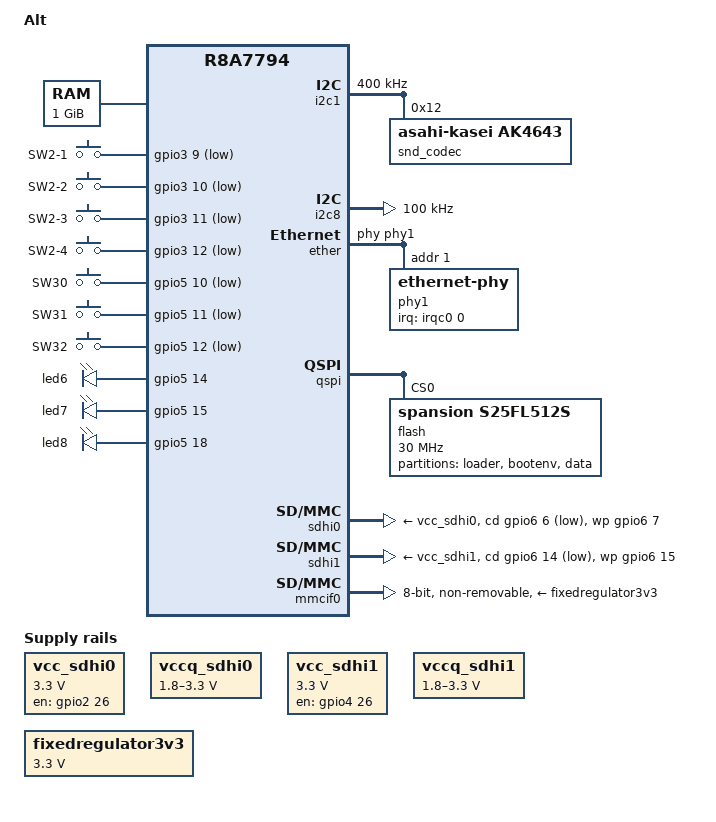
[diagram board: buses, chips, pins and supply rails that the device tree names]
/*
 * Device Tree Source for the Alt board
 *
 * Copyright (C) 2014 Renesas Electronics Corporation
 *
 * This file is licensed under the terms of the GNU General Public License
 * version 2.  This program is licensed "as is" without any warranty of any
 * kind, whether express or implied.
 */

/*
 * SSI-AK4643
 *
 * SW1: 1: AK4643
 *      2: CN22
 *      3: ADV7511
 *
 * this command is required when playback.
 *
 * # amixer set "LINEOUT Mixer DACL" on
 * # amixer set "Playback" 100
 */

/dts-v1/;
#include "r8a7794.dtsi"
#include <dt-bindings/gpio/gpio.h>
#include <dt-bindings/input/input.h>

/ {
	model = "Alt";
	compatible = "renesas,alt", "renesas,r8a7794";

	chosen {
		bootargs = "console=ttySC10,38400 ignore_loglevel rw root=/dev/nfs ip=dhcp";
	};

	memory@40000000 {
		device_type = "memory";
		reg = <0 0x40000000 0 0x40000000>;
	};

	lbsc {
		#address-cells = <1>;
		#size-cells = <1>;
	};

	gpio-keys {
		compatible = "gpio-keys";

		key-1 {
			gpios = <&gpio3 9 GPIO_ACTIVE_LOW>;
			linux,code = <KEY_1>;
			label = "SW2-1";
			gpio-key,wakeup;
			debounce-interval = <20>;
		};
		key-2 {
			gpios = <&gpio3 10 GPIO_ACTIVE_LOW>;
			linux,code = <KEY_2>;
			label = "SW2-2";
			gpio-key,wakeup;
			debounce-interval = <20>;
		};
		key-3 {
			gpios = <&gpio3 11 GPIO_ACTIVE_LOW>;
			linux,code = <KEY_3>;
			label = "SW2-3";
			gpio-key,wakeup;
			debounce-interval = <20>;
		};
		key-4 {
			gpios = <&gpio3 12 GPIO_ACTIVE_LOW>;
			linux,code = <KEY_4>;
			label = "SW2-4";
			gpio-key,wakeup;
			debounce-interval = <20>;
		};
		key-a {
			gpios = <&gpio5 10 GPIO_ACTIVE_LOW>;
			linux,code = <KEY_A>;
			label = "SW30";
			gpio-key,wakeup;
			debounce-interval = <20>;
		};
		key-b {
			gpios = <&gpio5 11 GPIO_ACTIVE_LOW>;
			linux,code = <KEY_B>;
			label = "SW31";
			gpio-key,wakeup;
			debounce-interval = <20>;
		};
		key-c {
			gpios = <&gpio5 12 GPIO_ACTIVE_LOW>;
			linux,code = <KEY_C>;
			label = "SW32";
			gpio-key,wakeup;
			debounce-interval = <20>;
		};
	};

	leds {
		compatible = "gpio-leds";
		led6 {
			gpios = <&gpio5 14 GPIO_ACTIVE_HIGH>;
		};
		led7 {
			gpios = <&gpio5 15 GPIO_ACTIVE_HIGH>;
		};
		led8 {
			gpios = <&gpio5 18 GPIO_ACTIVE_HIGH>;
		};
	};

	vcc_sdhi0: regulator@0 {
		compatible = "regulator-fixed";

		regulator-name = "SDHI0 Vcc";
		regulator-min-microvolt = <3300000>;
		regulator-max-microvolt = <3300000>;

		gpio = <&gpio2 26 GPIO_ACTIVE_HIGH>;
		enable-active-high;
	};

	vccq_sdhi0: regulator@1 {
		compatible = "regulator-gpio";

		regulator-name = "SDHI0 VccQ";
		regulator-min-microvolt = <1800000>;
		regulator-max-microvolt = <3300000>;

		gpios = <&gpio2 29 GPIO_ACTIVE_HIGH>;
		gpios-states = <1>;
		states = <3300000 1
			  1800000 0>;
	};

	vcc_sdhi1: regulator@2 {
		compatible = "regulator-fixed";

		regulator-name = "SDHI1 Vcc";
		regulator-min-microvolt = <3300000>;
		regulator-max-microvolt = <3300000>;

		gpio = <&gpio4 26 GPIO_ACTIVE_HIGH>;
		enable-active-high;
	};

	vccq_sdhi1: regulator@3 {
		compatible = "regulator-gpio";

		regulator-name = "SDHI1 VccQ";
		regulator-min-microvolt = <1800000>;
		regulator-max-microvolt = <3300000>;

		gpios = <&gpio4 29 GPIO_ACTIVE_HIGH>;
		gpios-states = <1>;
		states = <3300000 1
			  1800000 0>;
	};

	fixedregulator3v3: fixedregulator@0 {
		compatible = "regulator-fixed";
		regulator-name = "fixed-3.3V";
		regulator-min-microvolt = <3300000>;
		regulator-max-microvolt = <3300000>;
		regulator-boot-on;
		regulator-always-on;
	};
};

&extal_clk {
	clock-frequency = <20000000>;
};

&i2c1 {
	pinctrl-0 = <&i2c1_pins>;
	pinctrl-names = "default";

	status = "okay";
	clock-frequency = <400000>;

	snd_codec: ak4643 {
		#sound-dai-cells = <0>;
		compatible = "asahi-kasei,ak4643";
		reg = <0x12>;
	};
};

&i2c8 {
	status = "okay";
	clock-frequency = <100000>;
};

&pfc {
	pinctrl-0 = <&du_pins &scif2_pins &usb0_pins &usb1_pins &sound_pins &sound_clk_pins
		     &vin0_pins>;
	pinctrl-names = "default";

	du_pins: du {
		renesas,groups = "du0_rgb888", "du0_sync", "du0_clk_out",
				 "du1_rgb666", "du1_sync", "du1_clk_out";
		renesas,function = "du";
	};

	i2c1_pins: i2c1 {
		renesas,groups = "i2c1";
		renesas,function = "i2c1";
	};

	scif2_pins: serial2 {
		renesas,groups = "scif2_data";
		renesas,function = "scif2";
	};

	ether_pins: ether {
		renesas,groups = "eth_link", "eth_mdio", "eth_rmii";
		renesas,function = "eth";
	};

	qspi_pins: spi0 {
		renesas,groups = "qspi_ctrl", "qspi_data4";
		renesas,function = "qspi";
	};

	sdhi0_pins: sd0 {
		renesas,groups = "sdhi0_data4", "sdhi0_ctrl";
		renesas,function = "sdhi0";
	};

	sdhi1_pins: sd1 {
		renesas,groups = "sdhi1_data4", "sdhi1_ctrl";
		renesas,function = "sdhi1";
	};

	mmc0_pins: mmc0 {
		renesas,groups = "mmc_data8", "mmc_ctrl";
		renesas,function = "mmc";
	};

	usb0_pins: usb0 {
		renesas,groups = "usb0";
		renesas,function = "usb0";
	};

	usb1_pins: usb1 {
		renesas,groups = "usb1";
		renesas,function = "usb1";
	};

	vin0_pins: vin0 {
		renesas,groups = "vin0_data8", "vin0_sync", "vin0_field",
				 "vin0_clkenb", "vin0_clk";
		renesas,function = "vin0";
	};

	sound_pins: sound {
		renesas,groups = "ssi0129_ctrl", "ssi0_data", "ssi1_data";
		renesas,function = "ssi";
	};
	sound_clk_pins: sound_clk {
		renesas,groups = "audio_clk_a";
		renesas,function = "audio_clk";
	};
};

&ether {
	phy-handle = <&phy1>;
	renesas,ether-link-active-low;
	status = "ok";

	phy1: ethernet-phy@1 {
		reg = <1>;
		interrupt-parent = <&irqc0>;
		interrupts = <0 IRQ_TYPE_LEVEL_LOW>;
		micrel,led-mode = <1>;
	};
};

&qspi {
	pinctrl-0 = <&qspi_pins>;
	pinctrl-names = "default";

	status = "okay";

	flash: flash@0 {
		#address-cells = <1>;
		#size-cells = <1>;
		compatible = "spansion,s25fl512s";
		reg = <0>;
		spi-max-frequency = <30000000>;
		spi-tx-bus-width = <4>;
		spi-rx-bus-width = <4>;
		m25p,fast-read;

		partition@0 {
			label = "loader";
			reg = <0x00000000 0x00080000>;
			read-only;
		};
		partition@80000 {
			label = "bootenv";
			reg = <0x00080000 0x00080000>;
			read-only;
		};
		partition@100000 {
			label = "data";
			reg = <0x00100000 0x03f00000>;
		};
	};
};

&sdhi0 {
	pinctrl-0 = <&sdhi0_pins>;
	pinctrl-names = "default";

	vmmc-supply = <&vcc_sdhi0>;
	vqmmc-supply = <&vccq_sdhi0>;
	cd-gpios = <&gpio6 6 GPIO_ACTIVE_LOW>;
	wp-gpios = <&gpio6 7 GPIO_ACTIVE_HIGH>;
	status = "okay";
};

&sdhi1 {
	pinctrl-0 = <&sdhi1_pins>;
	pinctrl-names = "default";

	vmmc-supply = <&vcc_sdhi1>;
	vqmmc-supply = <&vccq_sdhi1>;
	cd-gpios = <&gpio6 14 GPIO_ACTIVE_LOW>;
	wp-gpios = <&gpio6 15 GPIO_ACTIVE_HIGH>;
	status = "okay";
};

&mmcif0 {
	pinctrl-0 = <&mmc0_pins>;
	pinctrl-names = "default";

	vmmc-supply = <&fixedregulator3v3>;
	bus-width = <8>;
	non-removable;
	status = "okay";
};
